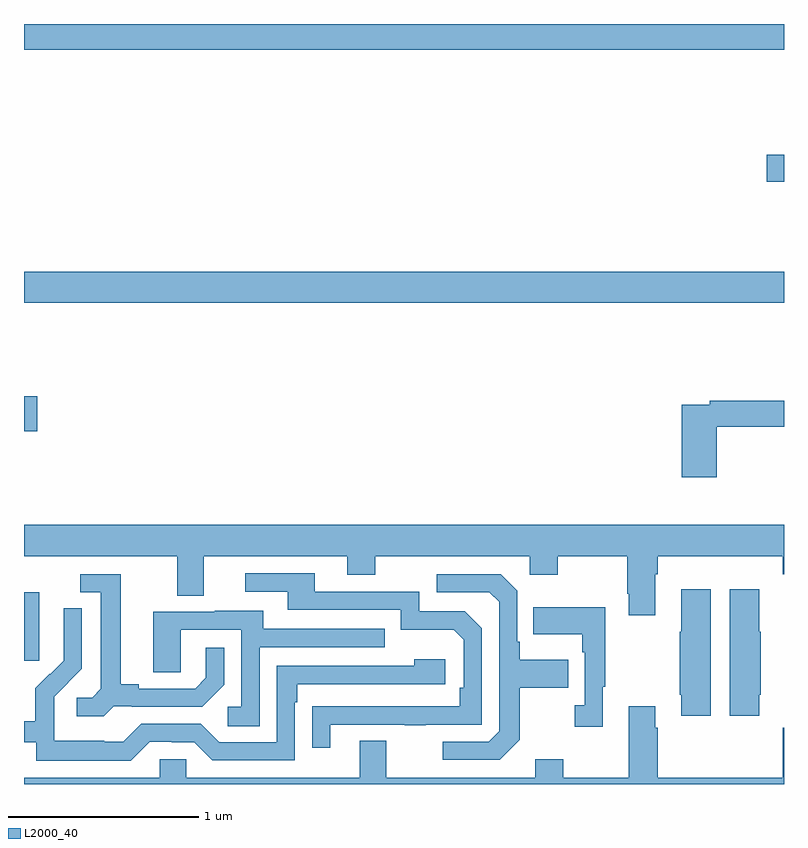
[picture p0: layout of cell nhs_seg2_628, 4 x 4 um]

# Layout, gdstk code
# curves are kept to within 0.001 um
import gdstk
lib = gdstk.Library(unit=1e-6, precision=1e-09)
def R(c, l, rs):  # rectangles x0, y0, x1, y1
    for r in rs: c.add(gdstk.rectangle(r[:2], r[2:], *l))
def P(c, l, *ps):  # polygons
    for p in ps: c.add(gdstk.Polygon(p, *l))
L2000_40 = (2000, 40)

nhs_seg2_628 = lib.new_cell('nhs_seg2_628')
R(nhs_seg2_628, L2000_40, [(143,616.449,143.08,616.81), (143,617.657,143.071,617.84), (143,618.332,147,618.496), (146.91,618.97,147,619.112), (143,619.664,147,619.8)])
P(nhs_seg2_628, L2000_40, [(146.645,617.68),(147,617.68),(147,617.816),(146.608,617.816),(146.608,617.796),(146.462,617.796),(146.462,617.415),(146.645,617.415)],
  [(146.323,616.904),(146.336,616.904),(146.336,617),(146.993,617),(146.993,616.904),(147,616.904),(147,617.164),(143,617.164),(143,617),(143.807,617),(143.807,616.792),(143.947,616.792),(143.947,617),(144.701,617),(144.701,616.901),(144.849,616.901),(144.849,617),(145.662,617),(145.662,616.901),(145.809,616.901),(145.809,617),(146.176,617),(146.176,616.801),(146.183,616.801),(146.183,616.689),(146.323,616.689)],
  [(144.613,616.113),(145.003,616.113),(145.003,616.108),(145.115,616.108),(145.115,616.113),(145.41,616.113),(145.41,616.62),(145.32,616.71),(145.08,616.71),(145.08,616.812),(144.529,616.812),(144.529,616.908),(144.165,616.908),(144.165,616.812),(144.389,616.812),(144.389,616.716),(144.984,616.716),(144.984,616.613),(145.261,616.613),(145.314,616.56),(145.314,616.306),(145.294,616.306),(145.294,616.209),(144.517,616.208),(144.517,615.99),(144.613,615.99)],
  [(145.609,616.033),(145.609,616.306),(145.865,616.306),(145.865,616.453),(145.609,616.453),(145.609,616.549),(145.596,616.549),(145.596,616.818),(145.509,616.905),(145.173,616.905),(145.173,616.809),(145.449,616.809),(145.5,616.758),(145.5,616.077),(145.446,616.023),(145.203,616.023),(145.203,615.927),(145.503,615.927)],
  [(143.472,616.209),(143.566,616.209),(143.566,616.206),(143.938,616.206),(144.054,616.322),(144.054,616.516),(143.957,616.516),(143.957,616.359),(143.9,616.302),(143.605,616.302),(143.605,616.325),(143.509,616.325),(143.509,616.905),(143.295,616.905),(143.295,616.809),(143.405,616.809),(143.405,616.301),(143.358,616.254),(143.277,616.254),(143.277,616.157),(143.42,616.157)],
  [(146.869,616.27),(146.877,616.27),(146.877,616.601),(146.869,616.601),(146.869,616.825),(146.714,616.825),(146.714,616.158),(146.869,616.158)],
  [(146.614,616.825),(146.459,616.825),(146.459,616.601),(146.452,616.601),(146.452,616.27),(146.459,616.27),(146.459,616.158),(146.614,616.158)],
  [(146.047,616.313),(146.059,616.313),(146.059,616.729),(145.681,616.729),(145.681,616.589),(145.938,616.589),(145.938,616.493),(145.95,616.493),(145.95,616.214),(145.899,616.214),(145.899,616.101),(146.047,616.101)],
  [(143.661,616.023),(143.777,616.023),(143.777,616.02),(143.895,616.02),(143.991,615.924),(144.426,615.924),(144.426,616.229),(144.439,616.229),(144.439,616.326),(145.216,616.326),(145.216,616.456),(145.055,616.456),(145.055,616.422),(144.33,616.422),(144.33,616.02),(144.027,616.02),(143.931,616.116),(143.616,616.116),(143.523,616.023),(143.423,616.023),(143.423,616.027),(143.16,616.027),(143.16,616.161),(143.158,616.161),(143.158,616.258),(143.304,616.406),(143.304,616.724),(143.208,616.724),(143.208,616.57),(143.21,616.57),(143.21,616.448),(143.139,616.377),(143.136,616.38),(143.059,616.303),(143.059,616.129),(143,616.129),(143,616.02),(143.064,616.02),(143.064,615.923),(143.561,615.923)],
  [(144.24,616.521),(144.899,616.521),(144.899,616.617),(144.259,616.617),(144.259,616.711),(144.005,616.711),(144.005,616.707),(143.681,616.707),(143.681,616.387),(143.826,616.387),(143.826,616.611),(144.144,616.611),(144.144,616.206),(144.072,616.206),(144.072,616.105),(144.24,616.105)],
  [(147,616.097),(146.993,616.097),(146.993,615.832),(146.336,615.832),(146.336,616.097),(146.323,616.097),(146.323,616.21),(146.183,616.21),(146.183,615.832),(145.839,615.832),(145.839,615.931),(145.691,615.931),(145.691,615.832),(144.907,615.832),(144.907,616.027),(144.767,616.027),(144.767,615.832),(143.853,615.832),(143.853,615.93),(143.715,615.93),(143.715,615.832),(143,615.832),(143,615.8),(147,615.8)])

lib.write_gds('nhs_seg2_628.gds')
